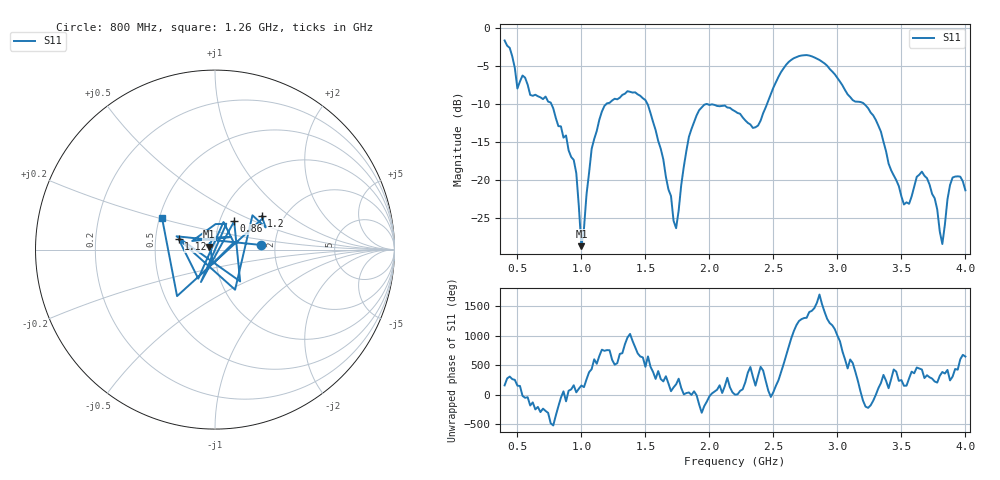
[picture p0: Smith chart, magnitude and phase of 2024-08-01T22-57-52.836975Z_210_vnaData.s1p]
!Created with skrf (http://scikit-rf.org).
# Hz S RI R 50.0
!freq ReS11 ImS11
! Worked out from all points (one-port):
!   181 points, 400 MHz to 4 GHz, reference 50 ohm
!   lowest |S11| = -28.7 dB at 1 GHz (marker M1), VSWR 1.08, Z = 46.8 + j1.47 ohm
!   |S11| at or under -10 dB: 1.517 GHz to 1.973 GHz (455.7 MHz wide, 26.1 % of centre); 1.985 GHz to 2.45 GHz (464.3 MHz wide, 20.9 % of centre); 3.211 GHz to end of sweep (the widest 3 of 4)
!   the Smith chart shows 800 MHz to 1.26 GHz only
!   S11 on the Smith chart (normalised r, x): 800 MHz: 1.68, +0.09; 860 MHz: 1.17, +0.38; 1.12 GHz: 0.66, +0.08; 1.2 GHz: 1.54, +0.64; 1.26 GHz: 0.52, +0.21
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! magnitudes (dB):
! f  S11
! 400 MHz  -1.6
! 500 MHz  -7.9
! 540 MHz  -6.2
! 800 MHz  -11.8
! 860 MHz  -14.4
! 960 MHz  -19.1
! 1 GHz  -28.7
! 1.08 GHz  -15.9
! 1.12 GHz  -13.5
! 1.2 GHz  -9.9
! 1.26 GHz  -9.3
! 1.3 GHz  -9.1
! 1.52 GHz  -10.1
! 1.72 GHz  -25.4
! 1.76 GHz  -24.0
! 1.84 GHz  -14.3
! 1.92 GHz  -10.8
! 2.2 GHz  -10.9
! 2.38 GHz  -12.8
! 2.66 GHz  -3.9
! 3.1 GHz  -9.1
! 3.3 GHz  -12.1
! 3.56 GHz  -23.1
! 3.66 GHz  -18.9
! 3.76 GHz  -22.4
! 3.82 GHz  -28.4
! 3.9 GHz  -19.7
! 4 GHz  -21.3
